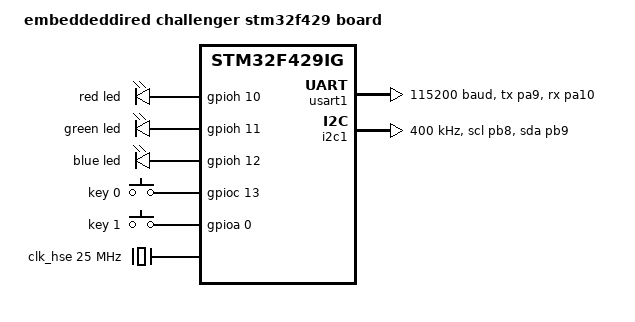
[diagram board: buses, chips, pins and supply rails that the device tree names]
/dts-v1/;
#include <st/f4/stm32f429Ig.dtsi>
#include <st/f4/stm32f429i(e-g)tx-pinctrl.dtsi>
/ {
    model = "embeddeddired challenger stm32f429 board";
    compatible = "embeddeddired,challenger";

    chosen {
        zephyr,console = &usart1;
        zephyr,shell-uart = &usart1;
        zephyr,sram = &sram0;
        zephyr,flash = &flash0;
        zephyr,ccm = &ccm0;
    };

    gpio-leds {
        compatible = "gpio-leds";
        red_led: led_0 {
            gpios = <&gpioh 10 GPIO_ACTIVE_HIGH>;
			label = "red led";
        };
        green_led: led_1 {
            gpios = <&gpioh 11 GPIO_ACTIVE_HIGH>;
			label = "green led";
        };
        blue_led: led_2 {
            gpios = <&gpioh 12 GPIO_ACTIVE_HIGH>;
			label = "blue led";
        };
    };

	gpio-keys {
		compatible = "gpio-keys";
		key_0: key_0 {
			gpios = <&gpioc 13 GPIO_ACTIVE_HIGH>;
			label = "key 0";
		};
		key_1: key_1 {
			gpios = <&gpioa 0 GPIO_ACTIVE_HIGH>;
			label = "key 1";
		};
	};

    aliases {
        led0 = &red_led;
        led1 = &green_led;
        led2 = &blue_led;
		key0 = &key_0;
		key1 = &key_1;
    };

};

&clk_lsi {
	status = "okay";
};

&clk_hse {
	clock-frequency = <DT_FREQ_M(25)>;
	status = "okay";
};

&pll {
	div-m = <15>;
	mul-n = <216>;
	div-p = <2>;
	div-q = <4>;
	clocks = <&clk_hse>;
	status = "okay";
};

&rcc {
	clocks = <&pll>;
	clock-frequency = <DT_FREQ_M(180)>;
	ahb-prescaler = <1>;
	apb1-prescaler = <4>;
	apb2-prescaler = <2>;
};

&usart1 {
	pinctrl-0 = <&usart1_tx_pa9 &usart1_rx_pa10>;
	pinctrl-names = "default";
	current-speed = <115200>;
	status = "okay";
};

&i2c1 {
	pinctrl-0 = <&i2c1_scl_pb8 &i2c1_sda_pb9>;
	pinctrl-names = "default";
	status = "okay";
	clock-frequency = <I2C_BITRATE_FAST>;
};
